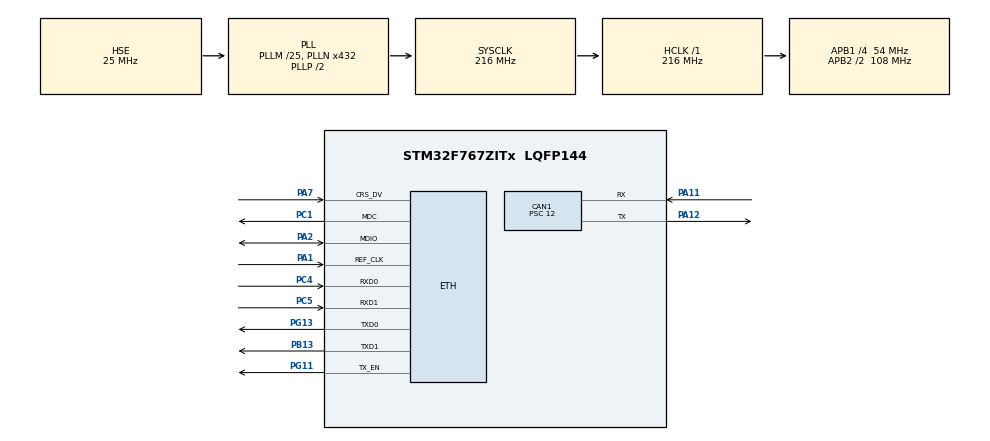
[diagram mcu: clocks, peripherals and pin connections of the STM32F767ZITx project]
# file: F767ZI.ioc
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CAN1.BS1=CAN_BS1_4TQ
CAN1.BS2=CAN_BS2_4TQ
CAN1.CalculateBaudRate=500000
CAN1.CalculateTimeBit=2000
CAN1.CalculateTimeQuantum=222.22222222222223
CAN1.Prescaler=12
CORTEX_M7.CPU_DCache=Enabled
CORTEX_M7.CPU_ICache=Enabled
CORTEX_M7.PREFETCH_ENABLE=1
ETH.MediaInterface=HAL_ETH_RMII_MODE
ETH.RxMode=ETH_RXINTERRUPT_MODE
FREERTOS.Tasks01=HTTP,1,2048,HTTP_Task,Default,NULL,Dynamic,NULL,NULL;TCPServer,0,1024,TCP_Server_Task,Default,NULL,Dynamic,NULL,NULL
FREERTOS.configUSE_NEWLIB_REENTRANT=0
LWIP.BSP.number=1
LWIP.GATEWAY_ADDRESS=192.168.000.001
LWIP.IP_ADDRESS=192.168.000.002
LWIP.LWIP_DHCP=0
LWIP.LWIP_HTTPD=1
LWIP.MEMP_NUM_TCP_PCB=10
LWIP.MEMP_NUM_TCP_SEG=32
LWIP.MEM_SIZE=20*1024
LWIP.NETMASK_ADDRESS=255.255.000.000
LWIP.TCP_SND_BUF=2048
LWIP.Version=v2.1.2_Cube
LWIP0.BSP.STBoard=false
LWIP0.BSP.api=BSP_COMPONENT_DRIVER
LWIP0.BSP.component=LAN8742
LWIP0.BSP.instance=LAN8742
LWIP0.BSP.name=Driver_PHY
LWIP0.BSP.semaphore=S_LAN8742
LWIP0.BSP.solution=LAN8742
Mcu.Family=STM32F7
Mcu.Name=STM32F767ZITx
Mcu.Package=LQFP144
NVIC.CAN1_RX1_IRQn=true\:5\:0\:false\:false\:true\:true\:true\:true\:true
NVIC.ETH_IRQn=true\:5\:0\:false\:false\:true\:true\:false\:true\:true
NVIC.PriorityGroup=NVIC_PRIORITYGROUP_4
NVIC.TIM2_IRQn=true\:15\:0\:false\:false\:true\:false\:false\:true\:true
NVIC.TimeBase=TIM2_IRQn
NVIC.TimeBaseIP=TIM2
PA1.Mode=RMII
PA1.Signal=ETH_REF_CLK
PA11.Mode=CAN_Activate
PA11.Signal=CAN1_RX
PA12.Mode=CAN_Activate
PA12.Signal=CAN1_TX
PA2.Mode=RMII
PA2.Signal=ETH_MDIO
PA7.Mode=RMII
PA7.Signal=ETH_CRS_DV
PB13.Mode=RMII
PB13.Signal=ETH_TXD1
PC1.Mode=RMII
PC1.Signal=ETH_MDC
PC4.Mode=RMII
PC4.Signal=ETH_RXD0
PC5.Mode=RMII
PC5.Signal=ETH_RXD1
PG11.Mode=RMII
PG11.Signal=ETH_TX_EN
PG13.Mode=RMII
PG13.Signal=ETH_TXD0
PH0/OSC_IN.Mode=HSE-External-Oscillator
PH0/OSC_IN.Signal=RCC_OSC_IN
PH1/OSC_OUT.Mode=HSE-External-Oscillator
PH1/OSC_OUT.Signal=RCC_OSC_OUT
ProjectManager.HeapSize=0x200
ProjectManager.StackSize=0x400
ProjectManager.TargetToolchain=STM32CubeIDE
RCC.AHBFreq_Value=216000000
RCC.APB1CLKDivider=RCC_HCLK_DIV4
RCC.APB1Freq_Value=54000000
RCC.APB1TimFreq_Value=108000000
RCC.APB2CLKDivider=RCC_HCLK_DIV2
RCC.APB2Freq_Value=108000000
RCC.APB2TimFreq_Value=216000000
RCC.CortexFreq_Value=216000000
RCC.HCLKFreq_Value=216000000
RCC.HSE_VALUE=25000000
RCC.HSI_VALUE=16000000
RCC.LSE_VALUE=32768
RCC.PLLM=25
RCC.PLLN=432
RCC.PLLSourceVirtual=RCC_PLLSOURCE_HSE
RCC.SYSCLKFreq_VALUE=216000000
RCC.SYSCLKSource=RCC_SYSCLKSOURCE_PLLCLK
RCC.USBFreq_Value=216000000
RCC.VCOOutputFreq_Value=432000000
VP_FREERTOS_VS_CMSIS_V1.Mode=CMSIS_V1
VP_LWIP_VS_Enabled.Mode=Enabled
VP_SYS_VS_tim2.Mode=TIM2
board=custom

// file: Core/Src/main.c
/* USER CODE BEGIN Header */
/**
  ******************************************************************************
  * @file           : main.c
  * @brief          : Main program body
  ******************************************************************************
  * @attention
  *
  * Copyright (c) 2024 STMicroelectronics.
  * All rights reserved.
  *
  * This software is licensed under terms that can be found in the LICENSE file
  * in the root directory of this software component.
  * If no LICENSE file comes with this software, it is provided AS-IS.
  *
  ******************************************************************************
  */
/* USER CODE END Header */
#include "main.h"
#include "cmsis_os.h"
#include "lwip.h"

/* USER CODE BEGIN Includes */
#include "tcpserver.h"
#include "lwip/opt.h"
#include "lwip/api.h"
#include "lwip/sys.h"
#include "string.h"
#include "message.pb.h"
#include <pb_decode.h>
#include <pb_encode.h>
#include "lwip/arch.h"
#include "lwip/apps/fs.h"
#include <stdio.h>
#include <stdbool.h>
/* USER CODE END Includes */

/* USER CODE BEGIN PD */
#define CAN_MAX_FRAME_SIZE 8 // Maximum bytes per CAN message
#define CAN_FIRST_FRAME_SIZE 7 // First frame bytes
#define MAX_MESSAGE_SIZE 32 // Maximum size of the entire message
#define CAN_ID 0x767        // Standard CAN ID
#define BIT_0 (1 << 0)
/* USER CODE END PD */

CAN_HandleTypeDef hcan1;

osThreadId HTTPHandle;
osThreadId TCPServerHandle;
/* USER CODE BEGIN PV */
BaseType_t RetValTCP;
osThreadId TCPHandle;

EventGroupHandle_t xEventGroup;
/* USER CODE END PV */

void SystemClock_Config(void);
static void MX_GPIO_Init(void);
static void MX_CAN1_Init(void);
void HTTP_Task(void const * argument);
void TCP_Server_Task(void const * argument);

/* USER CODE BEGIN 0 */
// http
int motor_angle = 45;  // Initial angle of the motor
bool lock_motors = false;  // Lock motors in place
bool fire_laser = false;            // Fire laser
bool motor_mode = false;  // True for scanning and False for manual

// CAN
CAN_TxHeaderTypeDef TxHeader;
CAN_RxHeaderTypeDef RxHeader;

uint8_t TxData[8];
uint8_t RxData[8];

uint32_t TxMailbox[3];

uint8_t fullRxBuffer[MAX_MESSAGE_SIZE];

CombinedData received_combined = CombinedData_init_zero;
CombinedData feedback_combined = CombinedData_init_zero;

uint8_t totalBytesReceived = 0;
size_t expectedMessageSize = 0;

void HAL_CAN_RxFifo1MsgPendingCallback(CAN_HandleTypeDef *hcan)
{
    // Get the received message
    if (HAL_CAN_GetRxMessage(hcan, CAN_RX_FIFO1, &RxHeader, RxData) != HAL_OK) {
        Error_Handler();  // Handle reception error
    }

    if (totalBytesReceived == 0) {
        // The first byte of the first frame tells us the total message length
        expectedMessageSize = RxData[0];
        // Copy the remaining 7 bytes to the buffer
        memcpy(&fullRxBuffer[totalBytesReceived], &RxData[1], CAN_FIRST_FRAME_SIZE);
        totalBytesReceived += CAN_FIRST_FRAME_SIZE;
    } else {
        // Copy the full data as usual
        size_t datalength = RxHeader.DLC;
        memcpy(&fullRxBuffer[totalBytesReceived], RxData, datalength);
        totalBytesReceived += datalength;
    }

    // Check if the full message has been received
    if (totalBytesReceived >= expectedMessageSize) {
        // Decode the received message from the complete buffer
        pb_istream_t stream = pb_istream_from_buffer(fullRxBuffer, totalBytesReceived);
        bool status = pb_decode(&stream, CombinedData_fields, &received_combined);

        if (!status) {
//            Error_Handler();  // Handle decoding error
        }

        lock_motors = received_combined.status.lock_motors;
		fire_laser = received_combined.status.fire_laser;
		motor_mode = received_combined.status.motor_mode;
		motor_angle = received_combined.servo_data.position_1;

        // Reset for next message
        totalBytesReceived = 0;
        expectedMessageSize = 0;
    }
}

void SendCANMessage(uint8_t* buffer, size_t message_length, uint32_t ide) {
    size_t bytesSent = 0;
    uint8_t frameIndex = 0; // To keep track of the frames

    while (bytesSent < message_length) {
        uint8_t TxData[8] = {0}; // Initialize with zeros

        if (frameIndex == 0) {
            // First frame: include the message length in the first byte
            TxData[0] = (uint8_t)message_length; // Store the total message length in the first byte
            size_t bytesToSend = (message_length < CAN_FIRST_FRAME_SIZE) ? message_length : CAN_FIRST_FRAME_SIZE;
            memcpy(&TxData[1], &buffer[bytesSent], bytesToSend);
            TxHeader.DLC = bytesToSend + 1; // DLC is the number of bytes in this frame
            bytesSent += bytesToSend;
        } else {
            // Subsequent frames
            size_t bytesToSend = (message_length - bytesSent > CAN_MAX_FRAME_SIZE) ? CAN_MAX_FRAME_SIZE : (message_length - bytesSent);
            memcpy(TxData, &buffer[bytesSent], bytesToSend);
            TxHeader.DLC = bytesToSend; // DLC is the number of bytes in this frame
            bytesSent += bytesToSend;
        }

        TxHeader.IDE = CAN_ID_STD;
        TxHeader.RTR = CAN_RTR_DATA;
        TxHeader.StdId = ide;

        HAL_StatusTypeDef status = HAL_CAN_AddTxMessage(&hcan1, &TxHeader, TxData, &TxMailbox[frameIndex]);
        if (status != HAL_OK) {
            Error_Handler();  // Handle transmission error
        }

        frameIndex++;
    }
}

bool http_server(struct netconn *conn)
{
    struct netbuf *inbuf;
    err_t recv_err;
    char* buf;
    u16_t buflen;

    bool statusChanged = false;

    /* Read the data from the port, blocking if nothing yet there */
    recv_err = netconn_recv(conn, &inbuf);

    if (recv_err == ERR_OK)
    {
        if (netconn_err(conn) == ERR_OK)
        {
            /* Get the data pointer and length of the data inside a netbuf */
            netbuf_data(inbuf, (void**)&buf, &buflen);

            /* Check if request to get the index.html */
            if (strncmp((char const *)buf,"GET /index.html",15) == 0)
            {
                struct fs_file file;
                fs_open(&file, "/index.html");
                netconn_write(conn, (const unsigned char*)(file.data), (size_t)file.len, NETCONN_NOCOPY);
                fs_close(&file);
            }
            if (strncmp((char const *)buf, "GET /laser", 10) == 0)
            {
                // Handle laser control
            	fire_laser = !fire_laser;
                const char *response = "Laser toggled";
                netconn_write(conn, response, strlen(response), NETCONN_NOCOPY);

                statusChanged = true;
            }
            if (strncmp((char const *)buf, "GET /motor", 10) == 0)
            {
                // Handle motor control
                lock_motors = !lock_motors;
                const char *response = "Motor locked";
                netconn_write(conn, response, strlen(response), NETCONN_NOCOPY);

                statusChanged = true;
            }
            if (strncmp((char const *)buf, "GET /mode", 9) == 0)
            {
                // Handle mode change
            	motor_mode = !motor_mode;
                const char *response = "Mode changed";
                netconn_write(conn, response, strlen(response), NETCONN_NOCOPY);

                statusChanged = true;
            }
            if (strncmp((char const *)buf, "GET /status", 11) == 0)
            {
                // Return the status in JSON format
                char status_response[200];
                snprintf(status_response, sizeof(status_response),
                    "{\"laser\":\"%s\",\"motor_angle\":\"%d\",\"mode\":\"%s\",\"motor_locked\":\"%s\"}",
                    fire_laser ? "On" : "Off",
                    motor_angle,
                    motor_mode ? "Automatic" : "Manual",
                    lock_motors ? "Locked" : "Unlocked");

                netconn_write(conn, status_response, strlen(status_response), NETCONN_NOCOPY);
            }
            else
            {
                /* Load Error page */
                struct fs_file file;
                fs_open(&file, "/404.html");
                netconn_write(conn, (const unsigned char*)(file.data), (size_t)file.len, NETCONN_NOCOPY);
                fs_close(&file);
            }
        }
    }
    /* Close the connection (server closes in HTTP) */
    netconn_close(conn);

    /* Delete the buffer (netconn_recv gives us ownership,
   so we have to make sure to deallocate the buffer) */
    netbuf_delete(inbuf);

    return statusChanged;
}

/* USER CODE END 0 */

int main(void)
{

  /* Enable I-Cache---------------------------------------------------------*/
  SCB_EnableICache();

  /* Enable D-Cache---------------------------------------------------------*/
  SCB_EnableDCache();

  /* MCU Configuration--------------------------------------------------------*/

  /* Reset of all peripherals, Initializes the Flash interface and the Systick. */
  HAL_Init();

  /* Configure the system clock */
  SystemClock_Config();

  /* Initialize all configured peripherals */
  MX_GPIO_Init();
  MX_CAN1_Init();
  /* USER CODE BEGIN 2 */

  HAL_CAN_Start(&hcan1);
  HAL_CAN_ActivateNotification(&hcan1, CAN_IT_RX_FIFO1_MSG_PENDING);

  xEventGroup = xEventGroupCreate();

  /* USER CODE END 2 */

  /* Create the thread(s) */
  /* definition and creation of HTTP */
  osThreadDef(HTTP, HTTP_Task, osPriorityAboveNormal, 0, 512);
  HTTPHandle = osThreadCreate(osThread(HTTP), NULL);

  /* definition and creation of TCPServer */
  osThreadDef(TCPServer, TCP_Server_Task, osPriorityNormal, 0, 512);
  TCPServerHandle = osThreadCreate(osThread(TCPServer), NULL);

  /* Start scheduler */
  osKernelStart();

  /* We should never get here as control is now taken by the scheduler */
  /* Infinite loop */
  while (1)
  {

  }
}

void SystemClock_Config(void)
{
  RCC_OscInitTypeDef RCC_OscInitStruct = {0};
  RCC_ClkInitTypeDef RCC_ClkInitStruct = {0};

  /** Configure the main internal regulator output voltage
  */
  __HAL_RCC_PWR_CLK_ENABLE();
  __HAL_PWR_VOLTAGESCALING_CONFIG(PWR_REGULATOR_VOLTAGE_SCALE1);

  /** Initializes the RCC Oscillators according to the specified parameters
  * in the RCC_OscInitTypeDef structure.
  */
  RCC_OscInitStruct.OscillatorType = RCC_OSCILLATORTYPE_HSE;
  RCC_OscInitStruct.HSEState = RCC_HSE_ON;
  RCC_OscInitStruct.PLL.PLLState = RCC_PLL_ON;
  RCC_OscInitStruct.PLL.PLLSource = RCC_PLLSOURCE_HSE;
  RCC_OscInitStruct.PLL.PLLM = 25;
  RCC_OscInitStruct.PLL.PLLN = 432;
  RCC_OscInitStruct.PLL.PLLP = RCC_PLLP_DIV2;
  RCC_OscInitStruct.PLL.PLLQ = 2;
  RCC_OscInitStruct.PLL.PLLR = 2;
  if (HAL_RCC_OscConfig(&RCC_OscInitStruct) != HAL_OK)
  {
    Error_Handler();
  }

  /** Activate the Over-Drive mode
  */
  if (HAL_PWREx_EnableOverDrive() != HAL_OK)
  {
    Error_Handler();
  }

  /** Initializes the CPU, AHB and APB buses clocks
  */
  RCC_ClkInitStruct.ClockType = RCC_CLOCKTYPE_HCLK|RCC_CLOCKTYPE_SYSCLK
                              |RCC_CLOCKTYPE_PCLK1|RCC_CLOCKTYPE_PCLK2;
  RCC_ClkInitStruct.SYSCLKSource = RCC_SYSCLKSOURCE_PLLCLK;
  RCC_ClkInitStruct.AHBCLKDivider = RCC_SYSCLK_DIV1;
  RCC_ClkInitStruct.APB1CLKDivider = RCC_HCLK_DIV4;
  RCC_ClkInitStruct.APB2CLKDivider = RCC_HCLK_DIV2;

  if (HAL_RCC_ClockConfig(&RCC_ClkInitStruct, FLASH_LATENCY_7) != HAL_OK)
  {
    Error_Handler();
  }
}

static void MX_CAN1_Init(void)
{

  hcan1.Instance = CAN1;
  hcan1.Init.Prescaler = 12;
  hcan1.Init.Mode = CAN_MODE_NORMAL;
  hcan1.Init.SyncJumpWidth = CAN_SJW_1TQ;
  hcan1.Init.TimeSeg1 = CAN_BS1_4TQ;
  hcan1.Init.TimeSeg2 = CAN_BS2_4TQ;
  hcan1.Init.TimeTriggeredMode = DISABLE;
  hcan1.Init.AutoBusOff = DISABLE;
  hcan1.Init.AutoWakeUp = DISABLE;
  hcan1.Init.AutoRetransmission = DISABLE;
  hcan1.Init.ReceiveFifoLocked = DISABLE;
  hcan1.Init.TransmitFifoPriority = DISABLE;
  if (HAL_CAN_Init(&hcan1) != HAL_OK)
  {
    Error_Handler();
  }
  /* USER CODE BEGIN CAN1_Init 2 */

  CAN_FilterTypeDef canfilterconfig;

  canfilterconfig.FilterActivation = CAN_FILTER_ENABLE;
  canfilterconfig.FilterBank = 10;  // which filter bank to use from the assigned ones
  canfilterconfig.FilterFIFOAssignment = CAN_FILTER_FIFO1;
  canfilterconfig.FilterIdHigh = 0x441<<5;
  canfilterconfig.FilterIdLow = 0;
  canfilterconfig.FilterMaskIdHigh = 0x441<<5;
  canfilterconfig.FilterMaskIdLow = 0x0000;
  canfilterconfig.FilterMode = CAN_FILTERMODE_IDMASK;
  canfilterconfig.FilterScale = CAN_FILTERSCALE_32BIT;
  canfilterconfig.SlaveStartFilterBank = 0;  // how many filters to assign to the CAN1 (master can)

  HAL_CAN_ConfigFilter(&hcan1, &canfilterconfig);

  /* USER CODE END CAN1_Init 2 */

}

static void MX_GPIO_Init(void)
{

  /* GPIO Ports Clock Enable */
  __HAL_RCC_GPIOH_CLK_ENABLE();
  __HAL_RCC_GPIOC_CLK_ENABLE();
  __HAL_RCC_GPIOA_CLK_ENABLE();
  __HAL_RCC_GPIOB_CLK_ENABLE();
  __HAL_RCC_GPIOG_CLK_ENABLE();

}

void HTTP_Task(void const * argument)
{
  /* init code for LWIP */
  MX_LWIP_Init();
  /* USER CODE BEGIN 5 */
  struct netconn *conn, *newconn;
  err_t err, accept_err;

  uint8_t buffer[MAX_MESSAGE_SIZE];  // Adjust the buffer size according to your needs
  size_t message_length;

  /* Create a new TCP connection handle */
  conn = netconn_new(NETCONN_TCP);
  if (conn!= NULL)
  {
    /* Bind to port 80 (HTTP) with default IP address */
    err = netconn_bind(conn, IP_ADDR_ANY, 80);

    if (err == ERR_OK)
    {
      /* Put the connection into LISTEN state */
      netconn_listen(conn);

      while(1)
      {
        /* accept any incoming connection */
        accept_err = netconn_accept(conn, &newconn);
        if(accept_err == ERR_OK)
        {
          /* serve connection */
          if (http_server(newconn)) {
        	  xEventGroupSetBits(xEventGroup, BIT_0);

    		  feedback_combined.status.lock_motors = lock_motors;
    		  feedback_combined.status.fire_laser = fire_laser;
    		  feedback_combined.status.motor_mode = motor_mode;  // True for scanning and False for manual
    		  feedback_combined.has_status = true;
    		  feedback_combined.has_servo_data = false;

    		  pb_ostream_t stream = pb_ostream_from_buffer(buffer, sizeof(buffer));
    		  bool status = pb_encode(&stream, CombinedData_fields, &feedback_combined);
    		  message_length = stream.bytes_written;

    		  if (!status) {
    			  Error_Handler();  // Handle encoding error
    		  }

    		  // Send the data over CAN
    		  SendCANMessage(buffer, message_length, 0x441);
          }

          /* delete connection */
          netconn_delete(newconn);
        }
        vTaskDelay(pdMS_TO_TICKS(20));  // 10 ms delay
      }
    }
  }

  vTaskDelay(pdMS_TO_TICKS(10));
  /* USER CODE END 5 */
}

void TCP_Server_Task(void const * argument)
{
  /* USER CODE BEGIN TCP_Server_Task */
    err_t err, accept_err;
    struct netconn *conn, *newconn;

    conn = netconn_new(NETCONN_TCP);

    if (conn != NULL)
    {
        err = netconn_bind(conn, IP_ADDR_ANY, 7); // Port 7
        if (err == ERR_OK)
        {
            netconn_listen(conn);
            while (1)
            {
                accept_err = netconn_accept(conn, &newconn);
                if (accept_err == ERR_OK)
                {
                    while (1) // Keep the connection open to keep sending data
                    {
                        // Serialize the received_combined protobuf message
                        uint8_t buffer[128]; // Buffer size can be adjusted based on your message size
                        pb_ostream_t stream = pb_ostream_from_buffer(buffer, sizeof(buffer));
                        bool status = pb_encode(&stream, CombinedData_fields, &received_combined);

                        if (!status) {
                            // Handle the encoding error if needed
                            continue;
                        }

                        // Send the serialized message to the client
                        netconn_write(newconn, buffer, stream.bytes_written, NETCONN_COPY);

                        // Delay to simulate continuous data sending
                        vTaskDelay(pdMS_TO_TICKS(20));  // 1-second delay
                    }

                    netconn_close(newconn);
                    netconn_delete(newconn);
                }
            }
        }
        else
        {
            netconn_delete(conn);
        }
    }
  /* USER CODE END TCP_Server_Task */
}

void HAL_TIM_PeriodElapsedCallback(TIM_HandleTypeDef *htim)
{
  if (htim->Instance == TIM2) {
    HAL_IncTick();
  }
}

void Error_Handler(void)
{
  __disable_irq();
  while (1)
  {
  }
}
